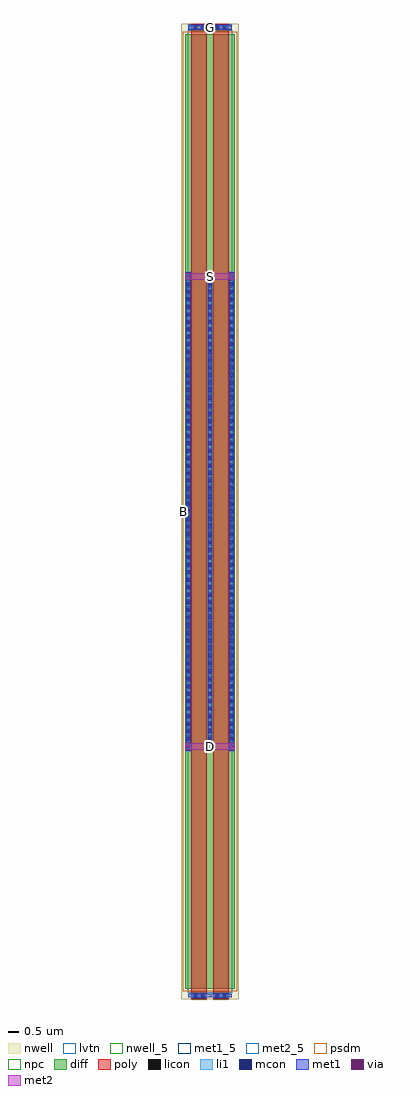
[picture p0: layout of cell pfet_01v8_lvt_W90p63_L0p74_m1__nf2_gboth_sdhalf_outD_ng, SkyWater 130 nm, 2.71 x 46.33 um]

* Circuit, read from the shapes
.subckt pfet_01v8_lvt_W90p63_L0p74_m1__nf2_gboth_sdhalf_outD_ng B D G S
XM1 S G D B sky130_fd_pr__pfet_01v8_lvt w=45.32 l=0.74 m=2
.ends

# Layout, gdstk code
import gdstk
lib = gdstk.Library(unit=1e-6, precision=1e-09)
def R(c, l, rs):  # rectangles x0, y0, x1, y1
    for r in rs: c.add(gdstk.rectangle(r[:2], r[2:], *l))
def A(c, l, x, y, w, h, nx, ny, dx, dy):  # array of equal rectangles
    R(c, l, [(x+i*dx, y+j*dy, x+i*dx+w, y+j*dy+h) for i in range(nx) for j in range(ny)])
nwell_5 = (64, 5)
nwell = (64, 20)
diff = (65, 20)
poly = (66, 20)
licon = (66, 44)
li1 = (67, 20)
mcon = (67, 44)
met1_5 = (68, 5)
met1 = (68, 20)
via = (68, 44)
met2_5 = (69, 5)
met2 = (69, 20)
psdm = (94, 20)
npc = (95, 20)
lvtn = (125, 44)

sky130_fd_pr__pfet_01v8_ = lib.new_cell('sky130_fd_pr__pfet_01v8_lvt_YDKPTS')
R(sky130_fd_pr__pfet_01v8_, nwell, [(-1.355,-23.16,1.355,23.16)])
R(sky130_fd_pr__pfet_01v8_, diff, [(-1.175,-22.66,1.175,22.66)])
R(sky130_fd_pr__pfet_01v8_, poly, [(-0.885,-23.145,-0.145,23.145), (0.145,-23.145,0.885,23.145)])
A(sky130_fd_pr__pfet_01v8_, licon, -1.115, -11.135, 0.17, 0.17, 3, 66, 1.03, 0.34)
R(sky130_fd_pr__pfet_01v8_, licon, [(-0.77,-23.065,-0.6,-22.895), (-0.43,-23.065,-0.26,-22.895), (0.26,-23.065,0.43,-22.895), (0.6,-23.065,0.77,-22.895), (-0.77,22.895,-0.6,23.065), (-0.43,22.895,-0.26,23.065), (0.26,22.895,0.43,23.065), (0.6,22.895,0.77,23.065)])
A(sky130_fd_pr__pfet_01v8_, li1, -1.115, -11.38, 0.17, 22.76, 3, 1, 1.03, 0)
R(sky130_fd_pr__pfet_01v8_, li1, [(-1.03,-23.065,1.03,-22.895), (-1.03,22.895,1.03,23.065)])
A(sky130_fd_pr__pfet_01v8_, mcon, -1.115, -11.245, 0.17, 0.17, 3, 63, 1.03, 0.36)
R(sky130_fd_pr__pfet_01v8_, mcon, [(-0.78,-23.065,-0.61,-22.895), (-0.42,-23.065,-0.25,-22.895), (0.25,-23.065,0.42,-22.895), (0.61,-23.065,0.78,-22.895), (-0.78,22.895,-0.61,23.065), (-0.42,22.895,-0.25,23.065), (0.25,22.895,0.42,23.065), (0.61,22.895,0.78,23.065)])
A(sky130_fd_pr__pfet_01v8_, met1, -1.145, -11.36, 0.23, 22.72, 3, 1, 1.03, 0)
R(sky130_fd_pr__pfet_01v8_, met1, [(-0.865,-23.095,-0.165,-23.065), (0.165,-23.095,0.865,-23.065), (-1.03,-23.065,1.03,-22.895), (-0.865,-22.895,-0.165,-22.865), (0.165,-22.895,0.865,-22.865), (-0.865,22.865,-0.165,22.895), (0.165,22.865,0.865,22.895), (-1.03,22.895,1.03,23.065), (-0.865,23.065,-0.165,23.095), (0.165,23.065,0.865,23.095)])
R(sky130_fd_pr__pfet_01v8_, psdm, [(-1.3,-22.785,1.3,22.785)])
R(sky130_fd_pr__pfet_01v8_, npc, [(-0.87,-23.165,-0.16,-22.795), (0.16,-23.165,0.87,-22.795), (-0.87,22.795,-0.16,23.165), (0.16,22.795,0.87,23.165)])
R(sky130_fd_pr__pfet_01v8_, lvtn, [(-1.065,-22.84,1.065,22.84)])
sky130_fd_pr__pfet_01v8_.add(gdstk.Label('D0', (-1.03,0), layer=67, texttype=5))
sky130_fd_pr__pfet_01v8_.add(gdstk.Label('G', (0.515,22.98), layer=67, texttype=5))
sky130_fd_pr__pfet_01v8_.add(gdstk.Label('G', (-0.515,22.98), layer=67, texttype=5))
sky130_fd_pr__pfet_01v8_.add(gdstk.Label('S1', (0,0), layer=67, texttype=5))

pfet_01v8_lvt_w90p63_l0p = lib.new_cell('pfet_01v8_lvt_W90p63_L0p74_m1__nf2_gboth_sdhalf_outD_ng')
R(pfet_01v8_lvt_w90p63_l0p, nwell_5, [(0.05,23.11,0.15,23.21)])
R(pfet_01v8_lvt_w90p63_l0p, nwell, [(0.05,23.11,0.15,23.21)])
R(pfet_01v8_lvt_w90p63_l0p, met1_5, [(0.325,46.025,2.385,46.255)])
R(pfet_01v8_lvt_w90p63_l0p, met1, [(0.195,11.85,0.455,12.17), (2.255,11.85,2.515,12.17), (1.225,34.15,1.485,34.47), (0.325,46.025,2.385,46.255)])
R(pfet_01v8_lvt_w90p63_l0p, via, [(0.25,11.935,0.4,12.085), (2.31,11.935,2.46,12.085), (1.28,34.235,1.43,34.385)])
R(pfet_01v8_lvt_w90p63_l0p, met2_5, [(0.19,11.85,2.52,12.17), (0.19,34.15,2.52,34.47)])
R(pfet_01v8_lvt_w90p63_l0p, met2, [(0.19,11.85,2.52,12.17), (0.19,34.15,2.52,34.47)])
pfet_01v8_lvt_w90p63_l0p.add(gdstk.Reference(sky130_fd_pr__pfet_01v8_, (1.355,23.16)))
pfet_01v8_lvt_w90p63_l0p.add(gdstk.Label('S', (1.355,34.31), layer=69, texttype=5))
pfet_01v8_lvt_w90p63_l0p.add(gdstk.Label('D', (1.355,12.01), layer=69, texttype=5))
pfet_01v8_lvt_w90p63_l0p.add(gdstk.Label('G', (1.355,46.14), layer=68, texttype=5))
pfet_01v8_lvt_w90p63_l0p.add(gdstk.Label('B', (0.1,23.16), layer=64, texttype=5))

lib.write_gds('pfet_01v8_lvt_W90p63_L0p74_m1__nf2_gboth_sdhalf_outD_ng.gds')
